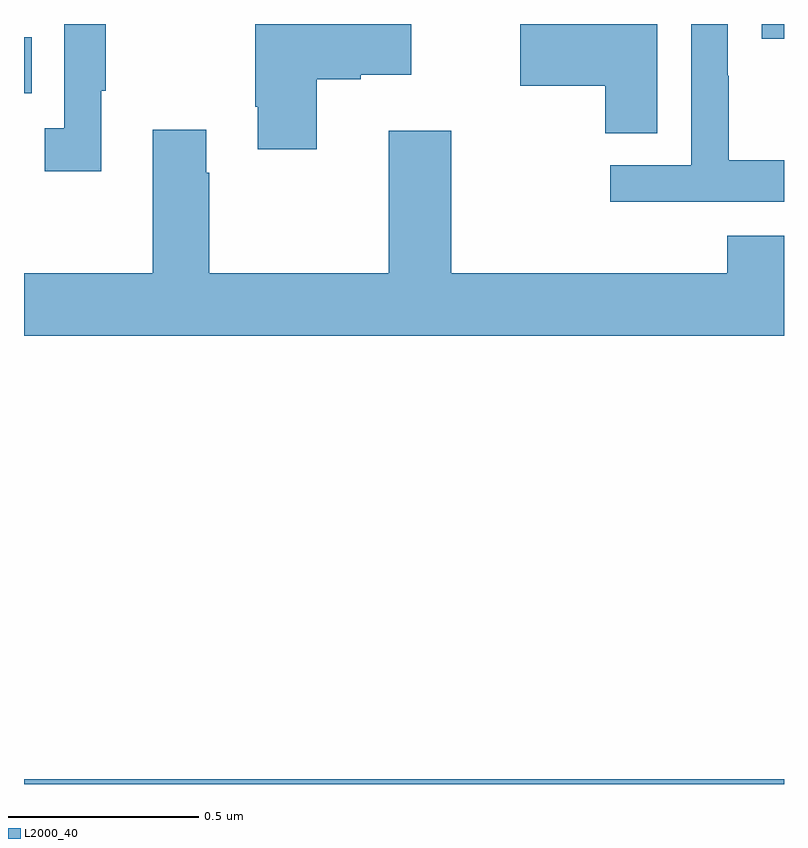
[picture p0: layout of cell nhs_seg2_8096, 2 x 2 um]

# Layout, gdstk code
import gdstk
lib = gdstk.Library(unit=1e-6, precision=1e-09)
def R(c, l, rs):  # rectangles x0, y0, x1, y1
    for r in rs: c.add(gdstk.rectangle(r[:2], r[2:], *l))
def P(c, l, *ps):  # polygons
    for p in ps: c.add(gdstk.Polygon(p, *l))
L2000_40 = (2000, 40)

nhs_seg2_8096 = lib.new_cell('nhs_seg2_8096')
R(nhs_seg2_8096, L2000_40, [(212,635.8,214,635.812), (212,637.618,212.021,637.765), (213.941,637.761,214,637.8)])
P(nhs_seg2_8096, L2000_40, [(212.203,637.625),(212.215,637.625),(212.215,637.8),(212.106,637.8),(212.106,637.526),(212.055,637.526),(212.055,637.413),(212.203,637.413)],
  [(212.77,637.655),(212.886,637.655),(212.886,637.667),(213.019,637.667),(213.019,637.8),(212.608,637.8),(212.608,637.582),(212.615,637.582),(212.615,637.47),(212.77,637.47)],
  [(213.667,637.8),(213.306,637.8),(213.306,637.637),(213.529,637.637),(213.529,637.513),(213.667,637.513)],
  [(214,637.441),(213.855,637.441),(213.855,637.664),(213.852,637.664),(213.852,637.8),(213.756,637.8),(213.756,637.428),(213.543,637.428),(213.543,637.332),(214,637.332)],
  [(214,637.243),(213.851,637.243),(213.851,637.144),(213.124,637.144),(213.124,637.519),(212.96,637.519),(212.96,637.144),(212.487,637.144),(212.487,637.409),(212.479,637.409),(212.479,637.522),(212.339,637.522),(212.339,637.144),(212,637.144),(212,636.98),(214,636.98)])

lib.write_gds('nhs_seg2_8096.gds')
